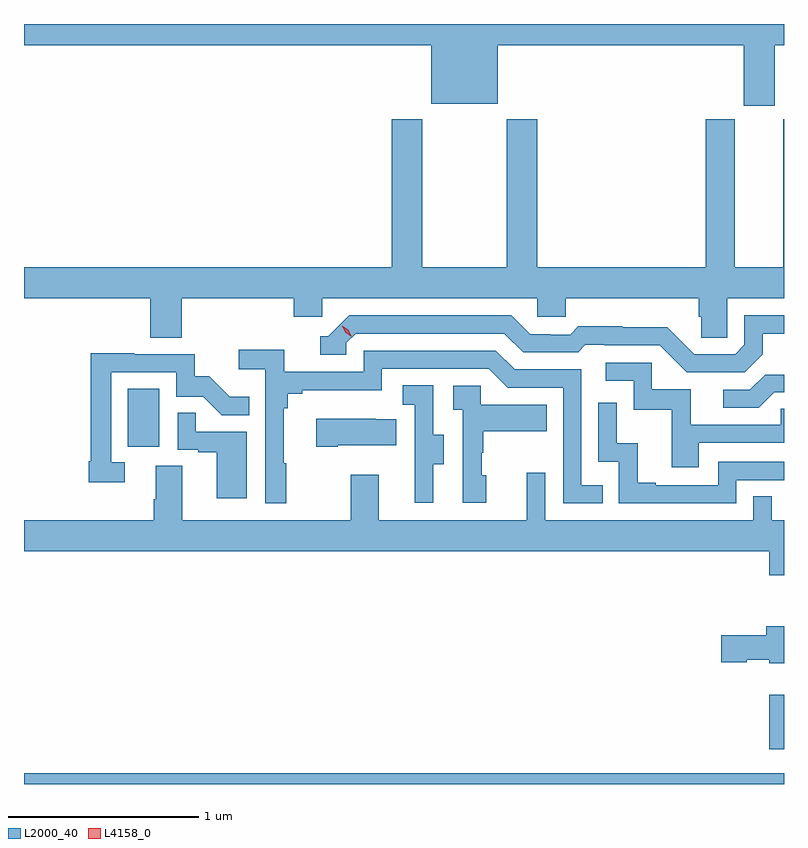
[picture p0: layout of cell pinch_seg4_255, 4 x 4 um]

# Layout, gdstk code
import gdstk
lib = gdstk.Library(unit=1e-6, precision=1e-09)
def R(c, l, rs):  # rectangles x0, y0, x1, y1
    for r in rs: c.add(gdstk.rectangle(r[:2], r[2:], *l))
def P(c, l, *ps):  # polygons
    for p in ps: c.add(gdstk.Polygon(p, *l))
L2000_40 = (2000, 40)
L4158_0 = (4158, 0)

pinch_seg4_255 = lib.new_cell('pinch_seg4_255')
R(pinch_seg4_255, L2000_40, [(945.547,818.24,949.547,818.296), (949.469,818.424,949.547,818.71), (946.094,820.014,946.258,820.321)])
P(pinch_seg4_255, L2000_40, [(949.498,822.128),(949.547,822.128),(949.547,822.24),(945.547,822.24),(945.547,822.128),(947.69,822.128),(947.69,821.819),(948.04,821.819),(948.04,822.128),(949.334,822.128),(949.334,821.811),(949.498,821.811)],
  [(946.376,820.796),(946.967,820.796),(946.967,820.698),(947.118,820.698),(947.118,820.796),(948.249,820.796),(948.249,820.698),(948.399,820.698),(948.399,820.796),(949.097,820.796),(949.097,820.698),(949.111,820.698),(949.111,820.588),(949.248,820.588),(949.248,820.796),(949.547,820.796),(949.547,821.739),(949.544,821.739),(949.544,820.96),(949.288,820.96),(949.288,821.739),(949.136,821.739),(949.136,820.96),(948.248,820.96),(948.248,821.74),(948.088,821.74),(948.088,820.96),(947.643,820.96),(947.643,821.74),(947.483,821.74),(947.483,820.96),(945.547,820.96),(945.547,820.796),(946.211,820.796),(946.211,820.588),(946.376,820.588)],
  [(949.435,820.501),(949.435,820.611),(949.547,820.611),(949.547,820.707),(949.338,820.707),(949.338,820.551),(949.29,820.503),(949.074,820.503),(948.932,820.645),(948.696,820.645),(948.696,820.648),(948.463,820.648),(948.421,820.605),(948.318,820.605),(948.318,820.608),(948.211,820.608),(948.112,820.707),(947.259,820.707),(947.148,820.596),(947.105,820.596),(947.105,820.5),(947.244,820.5),(947.244,820.563),(947.292,820.611),(948.075,820.611),(948.174,820.512),(948.463,820.512),(948.502,820.551),(948.601,820.551),(948.601,820.548),(948.894,820.548),(949.035,820.407),(949.341,820.407)],
  [(946.927,819.929),(946.915,819.929),(946.915,820.217),(946.934,820.217),(946.934,820.294),(947.011,820.294),(947.011,820.313),(947.43,820.313),(947.43,820.425),(947.994,820.425),(948.093,820.326),(948.384,820.326),(948.384,819.717),(948.593,819.717),(948.593,819.813),(948.48,819.813),(948.48,820.422),(948.13,820.422),(948.031,820.521),(947.334,820.521),(947.334,820.41),(946.916,820.41),(946.916,820.526),(946.677,820.526),(946.677,820.424),(946.818,820.424),(946.818,819.717),(946.927,819.717)],
  [(946.078,819.933),(946.005,819.933),(946.005,820.407),(946.347,820.407),(946.347,820.278),(946.491,820.278),(946.589,820.18),(946.733,820.18),(946.733,820.279),(946.629,820.279),(946.522,820.386),(946.446,820.386),(946.446,820.503),(946.127,820.503),(946.127,820.508),(945.897,820.508),(945.897,819.94),(945.889,819.94),(945.889,819.828),(946.078,819.828)],
  [(949.099,820.035),(949.547,820.035),(949.547,820.215),(949.531,820.215),(949.531,820.131),(949.057,820.131),(949.057,820.317),(948.852,820.317),(948.852,820.458),(948.609,820.458),(948.609,820.362),(948.756,820.362),(948.756,820.209),(948.955,820.209),(948.955,819.906),(949.099,819.906)],
  [(949.495,820.302),(949.547,820.302),(949.547,820.394),(949.448,820.394),(949.368,820.314),(949.227,820.314),(949.227,820.221),(949.414,820.221)],
  [(947.701,819.922),(947.755,819.922),(947.755,820.077),(947.7,820.077),(947.7,820.34),(947.541,820.34),(947.541,820.237),(947.604,820.237),(947.604,819.933),(947.603,819.933),(947.603,819.72),(947.701,819.72)],
  [(947.98,819.864),(947.955,819.864),(947.955,819.983),(947.965,819.983),(947.965,820.097),(948.299,820.097),(948.299,820.237),(947.952,820.237),(947.952,820.335),(947.805,820.335),(947.805,820.211),(947.856,820.211),(947.856,819.72),(947.98,819.72)],
  [(949.296,819.84),(949.547,819.84),(949.547,819.936),(949.2,819.936),(949.2,819.813),(948.871,819.813),(948.871,819.826),(948.776,819.826),(948.776,820.034),(948.666,820.034),(948.666,820.246),(948.57,820.246),(948.57,819.936),(948.678,819.936),(948.678,819.717),(949.296,819.717)],
  [(946.72,820.095),(946.451,820.095),(946.451,820.193),(946.356,820.193),(946.356,819.999),(946.463,819.999),(946.463,819.987),(946.562,819.987),(946.562,819.744),(946.72,819.744)],
  [(947.197,820.022),(947.507,820.022),(947.507,820.159),(947.399,820.159),(947.399,820.162),(947.085,820.162),(947.085,820.015),(947.197,820.015)],
  [(949.547,819.628),(949.482,819.628),(949.482,819.755),(949.386,819.755),(949.386,819.628),(948.291,819.628),(948.291,819.877),(948.194,819.877),(948.194,819.628),(947.413,819.628),(947.413,819.868),(947.266,819.868),(947.266,819.628),(946.381,819.628),(946.381,819.914),(946.241,819.914),(946.241,819.74),(946.229,819.74),(946.229,819.628),(945.547,819.628),(945.547,819.464),(949.469,819.464),(949.469,819.34),(949.547,819.34)],
  [(949.547,819.07),(949.454,819.07),(949.454,819.024),(949.218,819.024),(949.218,818.882),(949.35,818.882),(949.35,818.894),(949.47,818.894),(949.47,818.876),(949.547,818.876)])
P(pinch_seg4_255, L4158_0, [(947.268,820.597),(947.238,820.617),(947.222,820.65),(947.222,820.651),(947.223,820.651),(947.253,820.63),(947.269,820.597),(947.269,820.597)])

lib.write_gds('pinch_seg4_255.gds')
